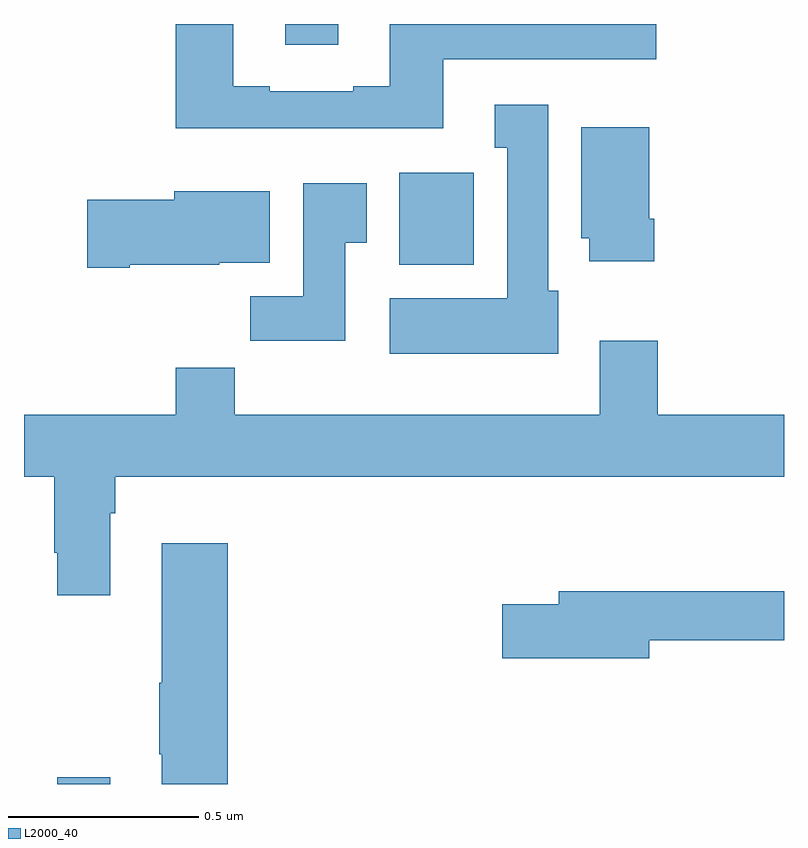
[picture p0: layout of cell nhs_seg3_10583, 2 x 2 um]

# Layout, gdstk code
import gdstk
lib = gdstk.Library(unit=1e-6, precision=1e-09)
def R(c, l, rs):  # rectangles x0, y0, x1, y1
    for r in rs: c.add(gdstk.rectangle(r[:2], r[2:], *l))
def P(c, l, *ps):  # polygons
    for p in ps: c.add(gdstk.Polygon(p, *l))
L2000_40 = (2000, 40)

nhs_seg3_10583 = lib.new_cell('nhs_seg3_10583')
R(nhs_seg3_10583, L2000_40, [(242.087,741.4,242.227,741.418), (242.987,742.766,243.184,743.008), (242.687,743.346,242.827,743.4)])
P(nhs_seg3_10583, L2000_40, [(243.103,743.307),(243.664,743.307),(243.664,743.4),(242.963,743.4),(242.963,743.236),(242.867,743.236),(242.867,743.223),(242.647,743.223),(242.647,743.236),(242.551,743.236),(242.551,743.4),(242.399,743.4),(242.399,743.126),(243.103,743.126)],
  [(243.406,742.698),(243.379,742.698),(243.379,743.188),(243.239,743.188),(243.239,743.075),(243.272,743.075),(243.272,742.678),(242.963,742.678),(242.963,742.532),(243.406,742.532)],
  [(243.659,742.888),(243.646,742.888),(243.646,743.128),(243.467,743.128),(243.467,742.836),(243.488,742.836),(243.488,742.776),(243.659,742.776)],
  [(242.845,742.825),(242.902,742.825),(242.902,742.981),(242.735,742.981),(242.735,742.684),(242.596,742.684),(242.596,742.566),(242.845,742.566)],
  [(242.278,742.766),(242.514,742.766),(242.514,742.772),(242.647,742.772),(242.647,742.96),(242.396,742.96),(242.396,742.937),(242.166,742.937),(242.166,742.759),(242.278,742.759)],
  [(242.227,742.112),(242.24,742.112),(242.24,742.208),(244,742.208),(244,742.372),(243.668,742.372),(243.668,742.567),(243.515,742.567),(243.515,742.372),(242.555,742.372),(242.555,742.496),(242.399,742.496),(242.399,742.372),(242,742.372),(242,742.208),(242.08,742.208),(242.08,742.009),(242.087,742.009),(242.087,741.897),(242.227,741.897)],
  [(242.536,742.033),(242.363,742.033),(242.363,741.667),(242.356,741.667),(242.356,741.478),(242.363,741.478),(242.363,741.4),(242.536,741.4)],
  [(243.646,741.778),(244,741.778),(244,741.907),(243.407,741.907),(243.407,741.873),(243.258,741.873),(243.258,741.731),(243.646,741.731)])

lib.write_gds('nhs_seg3_10583.gds')
